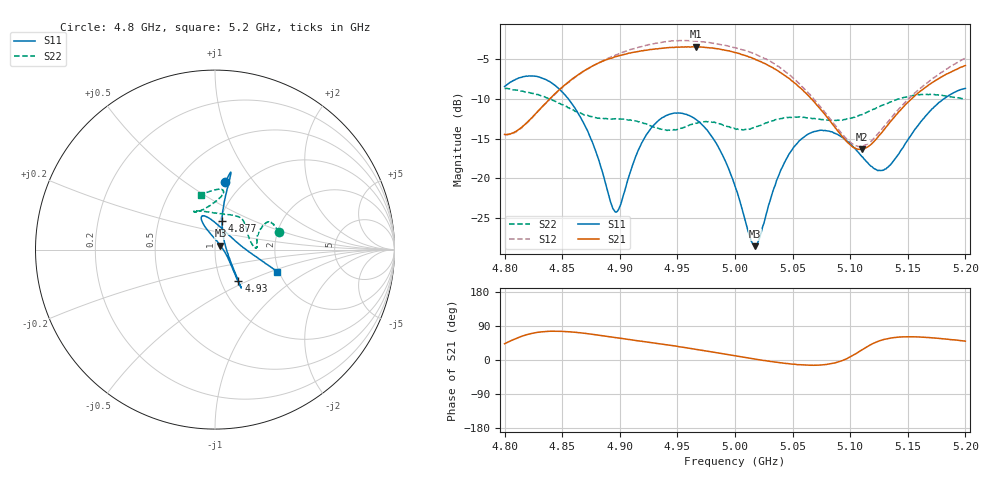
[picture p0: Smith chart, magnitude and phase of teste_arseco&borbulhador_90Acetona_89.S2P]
! Network Analyzer HP8722D
! Hewlett-Packard
! Data name: Linha & Wilkinson
! Saver's name: Rodrigo Anjos
! Comments: Teste da utilização de aquisição
! continua pelo VNA HP8722D
! Time and date: 17/4/2025 11:47
!  Frequency  S11  S21  S12  S22
# HZ  S  MA R 50
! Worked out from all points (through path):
!   401 points, 4.8 GHz to 5.2 GHz, reference 50 ohm
!   highest |S21| = -3.46 dB at 4.966 GHz (marker M1); lowest = -16.4 dB at 5.11 GHz (marker M2)
!   lowest |S11| = -28.5 dB at 5.017 GHz (marker M3), VSWR 1.08, Z = 53.1 + j2.33 ohm
!   |S11| at or under -10 dB: 4.855 GHz to 5.181 GHz (325.9 MHz wide, 6.49 % of centre)
!   |S22| runs from -14.0 to -8.7 dB; largest |S21 - S12| = 0.24
!   S11 on the Smith chart (normalised r, x): 4.8 GHz: 0.83, +0.73; 4.877 GHz: 1.03, +0.33; 4.93 GHz: 1.21, -0.45; 5.2 GHz: 1.96, -0.55
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4.8e9  0.3781 81.5  0.1892 42.9  0.1885 3.6  0.3679 15.3
4.834e9  0.4231 78.1  0.2892 74.9  0.2877 38.5  0.3269 27.6
4.867e9  0.2341 78.7  0.4639 71.2  0.4612 41.4  0.2552 19.9
4.877e9  0.1631 75.8  0.5112 67.5  0.5108 40.3  0.2432 15.3
4.892e9  0.07108 44.3  0.5684 61.1  0.5768 37.9  0.2367 8.5
4.897e9  0.06148 13.1  0.5831 58.8  0.5982 37.1  0.2372 6.5
4.916e9  0.1502 -46.5  0.6273 50.5  0.665 33.0  0.2269 2.7
4.93e9  0.2185 -53.2  0.6485 44.6  0.7016 28.8  0.2096 7.6
4.934e9  0.2328 -54.4  0.6543 42.9  0.7141 27.5  0.2057 10.7
4.95e9  0.2578 -55.5  0.6668 35.8  0.7324 21.7  0.2032 27.5
4.966e9  0.235 -54.8  0.6717 28.3  0.7275 15.4  0.2222 43.0
4.984e9  0.1651 -49.9  0.654 19.5  0.7001 8.7  0.2228 56.1
5e9  0.08958 -34.3  0.6169 10.9  0.6629 2.8  0.2053 73.9
5.017e9  0.0376 35.6  0.5635 2.8  0.6032 -3.4  0.2095 96.7
5.042e9  0.1218 111.9  0.4498 -8.3  0.479 -11.8  0.2402 115.7
5.067e9  0.1952 113.1  0.3126 -13.8  0.3243 -13.6  0.2377 118.2
5.087e9  0.1918 105.5  0.2082 -7.5  0.2153 -3.4  0.2316 110.3
5.11e9  0.1377 83.2  0.1522 26.5  0.1592 34.0  0.2515 94.6
5.123e9  0.1131 55.4  0.1782 47.8  0.1871 56.7  0.2782 87.1
5.134e9  0.1204 26.7  0.2229 57.4  0.2325 67.6  0.3005 83.0
5.171e9  0.2733 -13.8  0.3993 58.4  0.4203 76.3  0.337 86.4
5.2e9  0.3678 -19.4  0.5115 49.8  0.57 73.5  0.3159 104.1
